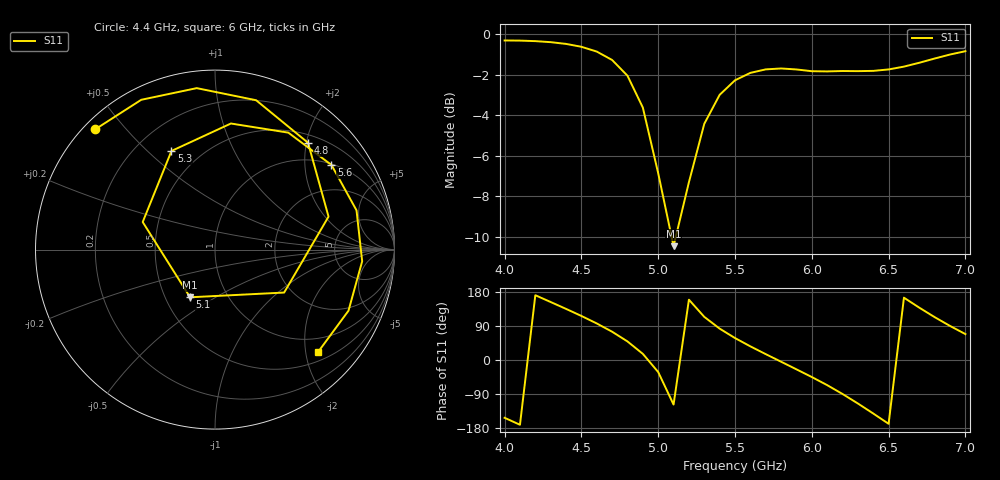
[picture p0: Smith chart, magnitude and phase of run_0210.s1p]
! Touchstone file exported from HFSS 2024.2.0
!  File:  C:/Users/wsak9/Desktop/Sim Fast/Widenad Patch/WP_AI_V1_sweep.aedt
!  Generated:  11:44:06 PM Oct 13, 2026
!  Design:  A1_model
!  Project:  WP_AI_V1_sweep
!  Setup:  Setup1
!  Solution:  Sweep
! Variables:
!  Air_gap = 4.26mm
!  Curve_Amp1 = 2
!  Curve_len1 = 1
!  Curve_pos = 11.41mm
!  Extra = 2.46mm
!  H_sub = 0.79mm
!  L_Patch = 18.82mm
!  L_Patch1 = 11.72mm
!  Sx = 4.87mm
!  Sy = 4.45mm
!  WS = 1.23mm
!  W_Patch = 15.52mm
!  W_Patch1 = 9.26mm
!Data is not renormalized
# GHz S MA
! Terminal data exported
! Port[1] = 1
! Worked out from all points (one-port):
!   31 points, 4 GHz to 7 GHz, reference per port
!   lowest |S11| = -10.5 dB at 5.1 GHz (marker M1), VSWR 1.86
!   |S11| at or under -10 dB: 5.087 GHz to 5.115 GHz (27.65 MHz wide, 0.542 % of centre)
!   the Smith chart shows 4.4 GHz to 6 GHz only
!   S11 on the Smith chart (normalised r, x): 4.4 GHz: 0.03, +0.42; 4.8 GHz: 0.64, +2.03; 5.1 GHz: 0.67, -0.39; 5.3 GHz: 0.35, +0.60; 5.6 GHz: 1.03, +2.73; 6 GHz: 0.67, -2.24
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4  0.9644 -152.5
4.2  0.9607 171.0
4.4  0.9457 134.9
4.5  0.9303 116.2
4.6  0.9053 96.5
4.7  0.8631 74.6
4.8  0.7893 49.0
4.9  0.6587 16.2
5  0.4535 -31.9
5.1  0.2998 -117.6
5.2  0.4311 159.1
5.3  0.6006 113.8
5.4  0.7081 82.8
5.5  0.7691 57.9
5.6  0.8022 36.0
5.7  0.8183 15.5
5.8  0.8226 -4.5
5.9  0.818 -24.6
6  0.8098 -45.0
6.2  0.8107 -89.7
6.3  0.8102 -114.8
6.4  0.8114 -141.2
6.5  0.818 -168.4
6.6  0.8312 164.5
6.7  0.8496 138.1
6.8  0.8704 113.1
6.9  0.8903 89.9
7  0.9072 68.4
